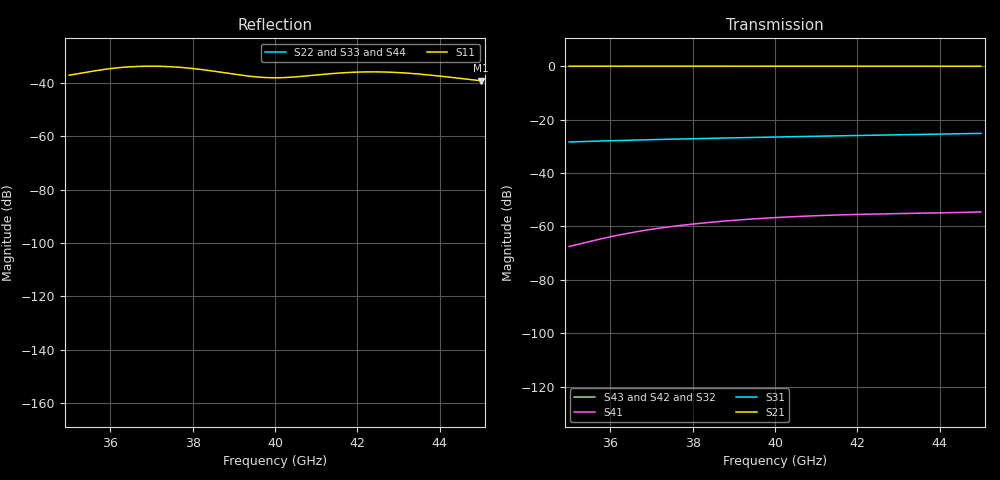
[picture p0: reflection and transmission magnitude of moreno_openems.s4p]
! Moreno cross-guide coupler, openEMS FDTD
! only column 1 (port 1 excited) and, by reciprocity, row 1 are simulated; other entries are zero
! S-parameters are normalised to each port's TE10 wave impedance (generalised
! S-matrix); 'R 50' below is only the placeholder the format requires.
! Reference planes: edges of the common a x a square.
# GHz S MA R 50
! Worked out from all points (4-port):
!   201 points, 35 GHz to 45 GHz, reference 50 ohm
!   strongest paths, dB at 35 GHz, 37.5 GHz, 40 GHz, 42.5 GHz, 45 GHz:
!     S21: 0.0, 0.0, 0.0, 0.0, 0.0
!     S31: -28.4, -27.3, -26.5, -25.8, -25.2
!     S41: -67.5, -60.0, -56.7, -55.3, -54.6
!     S43: -, -, -, -, -
!     S42: -, -, -, -, -
!     S32: -, -, -, -, -
!   lowest |S11| = -39.2 dB at 45 GHz (marker M1), VSWR 1.02, Z = 48.9 + j0.0592 ohm
!   |S11| at or under -10 dB: start of sweep to end of sweep
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35  0.01386 -137.9  0.998 -160.5  0.03808 109.4  0.0004204 120.1
    0.998 -160.5  0 0.0  0 0.0  0 0.0
    0.03808 109.4  0 0.0  0 0.0  0 0.0
    0.0004204 120.1  0 0.0  0 0.0  0 0.0
36.1  0.01882 -101.0  1 -172.0  0.04039 98.0  0.0006632 118.1
      1 -172.0  0 0.0  0 0.0  0 0.0
      0.04039 98.0  0 0.0  0 0.0  0 0.0
      0.0006632 118.1  0 0.0  0 0.0  0 0.0
37.05  0.02048 -80.5  0.9999 178.3  0.04219 88.4  0.000893 107.1
       0.9999 178.3  0 0.0  0 0.0  0 0.0
       0.04219 88.4  0 0.0  0 0.0  0 0.0
       0.000893 107.1  0 0.0  0 0.0  0 0.0
39.45  0.0131 -10.6  0.9985 155.1  0.04628 65.1  0.001376 73.4
       0.9985 155.1  0 0.0  0 0.0  0 0.0
       0.04628 65.1  0 0.0  0 0.0  0 0.0
       0.001376 73.4  0 0.0  0 0.0  0 0.0
40.2  0.01251 24.5  0.9986 148.1  0.0475 58.0  0.001489 63.0
      0.9986 148.1  0 0.0  0 0.0  0 0.0
      0.0475 58.0  0 0.0  0 0.0  0 0.0
      0.001489 63.0  0 0.0  0 0.0  0 0.0
42.55  0.01599 99.6  0.9994 126.3  0.05123 36.3  0.001712 33.2
       0.9994 126.3  0 0.0  0 0.0  0 0.0
       0.05123 36.3  0 0.0  0 0.0  0 0.0
       0.001712 33.2  0 0.0  0 0.0  0 0.0
45  0.01093 176.8  0.9967 104.4  0.05517 14.3  0.001869 6.6
    0.9967 104.4  0 0.0  0 0.0  0 0.0
    0.05517 14.3  0 0.0  0 0.0  0 0.0
    0.001869 6.6  0 0.0  0 0.0  0 0.0
